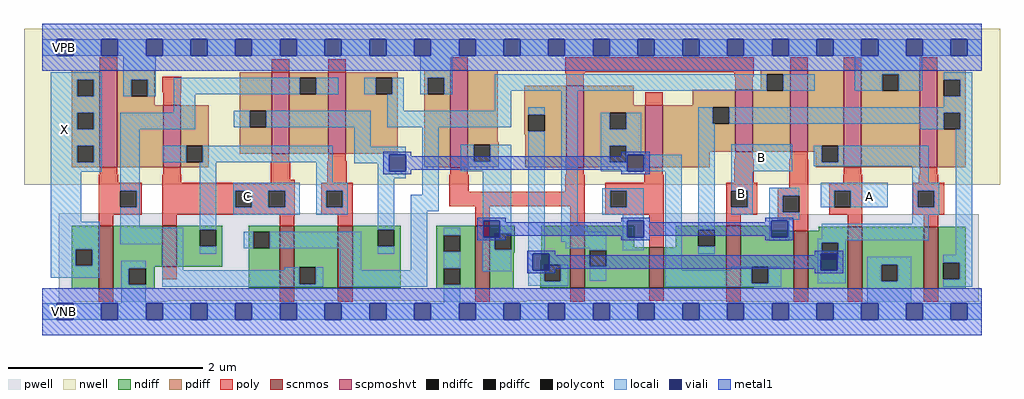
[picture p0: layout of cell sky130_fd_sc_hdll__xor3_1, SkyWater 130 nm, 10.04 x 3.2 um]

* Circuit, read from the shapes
.subckt sky130_fd_sc_hdll__xor3_1 A B C VGND VNB VPB VPWR X
XM1 VGND n1 X VNB sky130_fd_pr__nfet_01v8 w=0.65 l=0.15
XM2 n2 C VGND VNB sky130_fd_pr__nfet_01v8 w=0.42 l=0.15
XM3 n1 C n3 VNB sky130_fd_pr__nfet_01v8 w=0.64 l=0.15
XM4 n4 n2 n1 VNB sky130_fd_pr__nfet_01v8 w=0.64 l=0.15
XM5 n5 B VGND VNB sky130_fd_pr__nfet_01v8 w=0.65 l=0.15
XM6 n3 B n6 VNB sky130_fd_pr__nfet_01v8 w=0.64 l=0.15
XM7 n7 n5 n3 VNB sky130_fd_pr__nfet_01v8 w=0.42 l=0.15
XM8 n4 B n7 VNB sky130_fd_pr__nfet_01v8 w=0.64 l=0.15
XM9 n6 n5 n4 VNB sky130_fd_pr__nfet_01v8 w=0.6 l=0.15
XM10 VGND A n6 VNB sky130_fd_pr__nfet_01v8 w=0.64 l=0.15
XM11 n7 n6 VGND VNB sky130_fd_pr__nfet_01v8 w=0.64 l=0.15
XM12 VPWR n1 X VPB sky130_fd_pr__pfet_01v8_hvt w=1 l=0.18
XM13 n2 C VPWR VPB sky130_fd_pr__pfet_01v8_hvt w=0.64 l=0.18
XM14 n1 C n4 VPB sky130_fd_pr__pfet_01v8_hvt w=0.84 l=0.18
XM15 n3 n2 n1 VPB sky130_fd_pr__pfet_01v8_hvt w=0.84 l=0.18
XM16 n5 B VPWR VPB sky130_fd_pr__pfet_01v8_hvt w=1 l=0.18
XM17 n4 B n6 VPB sky130_fd_pr__pfet_01v8_hvt w=0.84 l=0.18
XM18 n7 n5 n4 VPB sky130_fd_pr__pfet_01v8_hvt w=0.64 l=0.18
XM19 n3 B n7 VPB sky130_fd_pr__pfet_01v8_hvt w=0.64 l=0.18
XM20 n6 n5 n3 VPB sky130_fd_pr__pfet_01v8_hvt w=0.84 l=0.18
XM21 VPWR A n6 VPB sky130_fd_pr__pfet_01v8_hvt w=1 l=0.18
XM22 n7 n6 VPWR VPB sky130_fd_pr__pfet_01v8_hvt w=1 l=0.18
.ends

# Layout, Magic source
magic
tech sky130A
magscale 1 2
<< nwell >>
rect -38 261 1970 582
<< pwell >>
rect 34 201 1523 203
rect 34 23 1926 201
rect 34 21 257 23
rect 784 21 996 23
rect 1438 21 1926 23
rect 34 17 63 21
rect 29 -17 63 17
<< scnmos >>
rect 116 47 146 177
rect 246 93 276 177
rect 488 49 518 177
rect 608 49 638 177
rect 890 47 920 177
rect 1086 49 1116 177
rect 1248 49 1278 133
rect 1407 49 1437 177
rect 1546 47 1576 167
rect 1657 47 1687 175
rect 1813 47 1843 175
<< scpmoshvt >>
rect 118 297 154 497
rect 248 297 284 425
rect 472 325 508 493
rect 588 325 624 493
rect 839 297 875 497
rect 1078 297 1114 465
rect 1240 297 1276 425
rect 1425 329 1461 457
rect 1538 329 1574 497
rect 1649 297 1685 497
rect 1805 297 1841 497
<< ndiff >>
rect 60 129 116 177
rect 60 95 68 129
rect 102 95 116 129
rect 60 47 116 95
rect 146 93 246 177
rect 276 169 370 177
rect 276 135 324 169
rect 358 135 370 169
rect 276 93 370 135
rect 424 165 488 177
rect 424 131 434 165
rect 468 131 488 165
rect 146 89 231 93
rect 146 55 178 89
rect 212 55 231 89
rect 146 47 231 55
rect 424 49 488 131
rect 518 91 608 177
rect 518 57 528 91
rect 562 57 608 91
rect 518 49 608 57
rect 638 169 737 177
rect 638 135 690 169
rect 724 135 737 169
rect 638 49 737 135
rect 810 157 890 177
rect 810 123 826 157
rect 860 123 890 157
rect 810 89 890 123
rect 810 55 826 89
rect 860 55 890 89
rect 810 47 890 55
rect 920 161 972 177
rect 920 127 930 161
rect 964 127 972 161
rect 920 121 972 127
rect 920 47 970 121
rect 1026 105 1086 177
rect 1024 97 1086 105
rect 1024 63 1032 97
rect 1066 63 1086 97
rect 1024 49 1086 63
rect 1116 133 1217 177
rect 1303 169 1407 177
rect 1303 135 1349 169
rect 1383 135 1407 169
rect 1303 133 1407 135
rect 1116 126 1248 133
rect 1116 92 1126 126
rect 1160 92 1248 126
rect 1116 49 1248 92
rect 1278 49 1407 133
rect 1437 167 1497 177
rect 1597 167 1657 175
rect 1437 93 1546 167
rect 1437 59 1459 93
rect 1493 59 1546 93
rect 1437 49 1546 59
rect 1464 47 1546 49
rect 1576 142 1657 167
rect 1576 108 1603 142
rect 1637 108 1657 142
rect 1576 47 1657 108
rect 1687 97 1813 175
rect 1687 63 1726 97
rect 1760 63 1813 97
rect 1687 47 1813 63
rect 1843 101 1900 175
rect 1843 67 1853 101
rect 1887 67 1900 101
rect 1843 47 1900 67
<< pdiff >>
rect 60 477 118 497
rect 60 443 72 477
rect 106 443 118 477
rect 60 409 118 443
rect 60 375 72 409
rect 106 375 118 409
rect 60 341 118 375
rect 60 307 72 341
rect 106 307 118 341
rect 60 297 118 307
rect 154 477 231 497
rect 154 443 183 477
rect 217 443 231 477
rect 154 425 231 443
rect 154 297 248 425
rect 284 341 342 425
rect 284 307 296 341
rect 330 307 342 341
rect 406 413 472 493
rect 406 379 426 413
rect 460 379 472 413
rect 406 325 472 379
rect 508 481 588 493
rect 508 447 529 481
rect 563 447 588 481
rect 508 325 588 447
rect 624 481 731 493
rect 624 447 686 481
rect 720 447 731 481
rect 624 325 731 447
rect 785 481 839 497
rect 785 447 793 481
rect 827 447 839 481
rect 284 297 342 307
rect 785 297 839 447
rect 875 349 937 497
rect 1478 489 1538 497
rect 991 405 1078 465
rect 991 371 999 405
rect 1033 371 1078 405
rect 991 365 1078 371
rect 875 343 939 349
rect 875 309 887 343
rect 921 309 939 343
rect 875 297 939 309
rect 993 297 1078 365
rect 1114 425 1216 465
rect 1478 457 1490 489
rect 1338 425 1425 457
rect 1114 409 1240 425
rect 1114 375 1167 409
rect 1201 375 1240 409
rect 1114 341 1240 375
rect 1114 307 1167 341
rect 1201 307 1240 341
rect 1114 297 1240 307
rect 1276 421 1425 425
rect 1276 387 1379 421
rect 1413 387 1425 421
rect 1276 329 1425 387
rect 1461 455 1490 457
rect 1524 455 1538 489
rect 1461 329 1538 455
rect 1574 341 1649 497
rect 1574 329 1603 341
rect 1276 297 1373 329
rect 1591 307 1603 329
rect 1637 307 1649 341
rect 1591 297 1649 307
rect 1685 489 1805 497
rect 1685 455 1728 489
rect 1762 455 1805 489
rect 1685 297 1805 455
rect 1841 477 1900 497
rect 1841 443 1854 477
rect 1888 443 1900 477
rect 1841 409 1900 443
rect 1841 375 1854 409
rect 1888 375 1900 409
rect 1841 297 1900 375
<< ndiffc >>
rect 68 95 102 129
rect 324 135 358 169
rect 434 131 468 165
rect 178 55 212 89
rect 528 57 562 91
rect 690 135 724 169
rect 826 123 860 157
rect 826 55 860 89
rect 930 127 964 161
rect 1032 63 1066 97
rect 1349 135 1383 169
rect 1126 92 1160 126
rect 1459 59 1493 93
rect 1603 108 1637 142
rect 1726 63 1760 97
rect 1853 67 1887 101
<< pdiffc >>
rect 72 443 106 477
rect 72 375 106 409
rect 72 307 106 341
rect 183 443 217 477
rect 296 307 330 341
rect 426 379 460 413
rect 529 447 563 481
rect 686 447 720 481
rect 793 447 827 481
rect 999 371 1033 405
rect 887 309 921 343
rect 1167 375 1201 409
rect 1167 307 1201 341
rect 1379 387 1413 421
rect 1490 455 1524 489
rect 1603 307 1637 341
rect 1728 455 1762 489
rect 1854 443 1888 477
rect 1854 375 1888 409
<< poly >>
rect 118 497 154 523
rect 472 493 508 519
rect 588 493 624 519
rect 839 497 875 523
rect 246 451 286 483
rect 248 425 284 451
rect 472 310 508 325
rect 588 310 624 325
rect 118 282 154 297
rect 248 282 284 297
rect 116 265 156 282
rect 246 265 286 282
rect 470 271 510 310
rect 470 265 519 271
rect 586 265 626 310
rect 1076 493 1463 523
rect 1538 497 1574 523
rect 1649 497 1685 523
rect 1805 497 1841 523
rect 1076 491 1116 493
rect 1078 465 1114 491
rect 1423 483 1463 493
rect 1425 457 1461 483
rect 1240 425 1276 451
rect 1425 314 1461 329
rect 1538 314 1574 329
rect 839 282 875 297
rect 1078 282 1114 297
rect 1240 282 1276 297
rect 116 249 204 265
rect 116 215 160 249
rect 194 215 204 249
rect 116 199 204 215
rect 246 249 519 265
rect 246 215 397 249
rect 431 215 465 249
rect 499 215 519 249
rect 246 199 519 215
rect 574 249 638 265
rect 574 215 584 249
rect 618 215 638 249
rect 837 247 877 282
rect 1076 247 1116 282
rect 1238 265 1278 282
rect 1423 265 1463 314
rect 837 217 1116 247
rect 574 199 638 215
rect 116 177 146 199
rect 246 177 276 199
rect 488 197 519 199
rect 488 177 518 197
rect 608 177 638 199
rect 890 177 920 217
rect 1086 177 1116 217
rect 1158 249 1278 265
rect 1158 215 1168 249
rect 1202 215 1278 249
rect 1158 199 1278 215
rect 246 67 276 93
rect 116 21 146 47
rect 488 21 518 49
rect 608 21 638 49
rect 1248 133 1278 199
rect 1407 249 1471 265
rect 1536 255 1576 314
rect 1649 282 1685 297
rect 1805 282 1841 297
rect 1647 265 1687 282
rect 1803 265 1843 282
rect 1407 215 1417 249
rect 1451 215 1471 249
rect 1407 199 1471 215
rect 1513 239 1576 255
rect 1513 205 1523 239
rect 1557 205 1576 239
rect 1407 177 1437 199
rect 1513 189 1576 205
rect 1619 249 1687 265
rect 1619 215 1629 249
rect 1663 215 1687 249
rect 1619 199 1687 215
rect 1791 249 1855 265
rect 1791 215 1801 249
rect 1835 215 1855 249
rect 1791 199 1855 215
rect 1546 167 1576 189
rect 1657 175 1687 199
rect 1813 175 1843 199
rect 890 21 920 47
rect 1086 21 1116 49
rect 1248 23 1278 49
rect 1407 21 1437 49
rect 1546 21 1576 47
rect 1657 21 1687 47
rect 1813 21 1843 47
<< polycont >>
rect 160 215 194 249
rect 397 215 431 249
rect 465 215 499 249
rect 584 215 618 249
rect 1168 215 1202 249
rect 1417 215 1451 249
rect 1523 205 1557 239
rect 1629 215 1663 249
rect 1801 215 1835 249
<< locali >>
rect 0 527 29 561
rect 63 527 121 561
rect 155 527 213 561
rect 247 527 305 561
rect 339 527 397 561
rect 431 527 489 561
rect 523 527 581 561
rect 615 527 673 561
rect 707 527 765 561
rect 799 527 857 561
rect 891 527 949 561
rect 983 527 1041 561
rect 1075 527 1133 561
rect 1167 527 1225 561
rect 1259 527 1317 561
rect 1351 527 1409 561
rect 1443 527 1501 561
rect 1535 527 1593 561
rect 1627 527 1685 561
rect 1719 527 1777 561
rect 1811 527 1869 561
rect 1903 527 1932 561
rect 17 477 122 493
rect 17 443 72 477
rect 106 443 122 477
rect 166 477 233 527
rect 777 481 843 527
rect 1671 489 1810 527
rect 166 443 183 477
rect 217 443 233 477
rect 270 447 529 481
rect 563 447 609 481
rect 662 447 686 481
rect 720 447 743 481
rect 777 447 793 481
rect 827 447 843 481
rect 930 455 1490 489
rect 1524 455 1589 489
rect 1671 455 1728 489
rect 1762 455 1810 489
rect 1854 477 1913 493
rect 17 409 122 443
rect 270 409 314 447
rect 709 413 743 447
rect 930 413 964 455
rect 17 375 72 409
rect 106 375 122 409
rect 17 341 122 375
rect 17 307 72 341
rect 106 307 122 341
rect 17 288 122 307
rect 160 375 314 409
rect 394 379 426 413
rect 460 379 675 413
rect 709 379 964 413
rect 999 405 1033 421
rect 17 185 80 288
rect 160 249 200 375
rect 247 307 296 341
rect 330 307 597 341
rect 194 215 200 249
rect 17 129 118 185
rect 160 173 200 215
rect 160 139 290 173
rect 17 95 68 129
rect 102 95 118 129
rect 17 70 118 95
rect 162 89 212 105
rect 162 55 178 89
rect 162 17 212 55
rect 246 85 290 139
rect 324 169 358 307
rect 563 265 597 307
rect 641 339 675 379
rect 641 323 747 339
rect 641 305 713 323
rect 690 289 713 305
rect 690 275 747 289
rect 392 249 529 265
rect 392 215 397 249
rect 431 215 465 249
rect 499 215 529 249
rect 392 199 529 215
rect 563 249 628 265
rect 563 215 584 249
rect 618 215 628 249
rect 563 199 628 215
rect 690 169 724 275
rect 781 241 815 379
rect 861 309 887 343
rect 921 309 964 343
rect 861 289 964 309
rect 324 119 358 135
rect 414 131 434 165
rect 468 131 656 165
rect 498 85 528 91
rect 246 57 528 85
rect 562 57 578 91
rect 246 51 578 57
rect 612 85 656 131
rect 690 119 724 135
rect 758 207 815 241
rect 758 85 792 207
rect 906 187 964 289
rect 612 51 792 85
rect 826 157 860 173
rect 826 89 860 123
rect 906 153 907 187
rect 941 161 964 187
rect 906 127 930 153
rect 906 83 964 127
rect 999 119 1033 371
rect 1067 178 1101 455
rect 1888 443 1913 477
rect 1854 421 1913 443
rect 1149 375 1167 409
rect 1201 375 1232 409
rect 1149 341 1232 375
rect 1149 307 1167 341
rect 1201 323 1232 341
rect 1349 387 1379 421
rect 1413 409 1913 421
rect 1413 387 1854 409
rect 1201 307 1203 323
rect 1149 289 1203 307
rect 1237 289 1315 323
rect 1152 249 1237 254
rect 1152 215 1168 249
rect 1202 215 1237 249
rect 1152 199 1237 215
rect 1194 187 1237 199
rect 1067 165 1121 178
rect 1067 144 1160 165
rect 1077 131 1160 144
rect 1126 126 1160 131
rect 1194 153 1203 187
rect 1194 126 1237 153
rect 999 85 1009 119
rect 826 17 860 55
rect 999 63 1032 85
rect 1066 63 1082 97
rect 1126 64 1160 92
rect 1281 85 1315 289
rect 1349 169 1383 387
rect 1806 375 1854 387
rect 1888 375 1913 409
rect 1417 289 1543 345
rect 1587 307 1603 341
rect 1637 307 1823 341
rect 1587 299 1823 307
rect 1417 249 1461 289
rect 1789 265 1823 299
rect 1451 215 1461 249
rect 1417 199 1461 215
rect 1495 239 1557 255
rect 1495 205 1523 239
rect 1601 249 1739 265
rect 1601 215 1629 249
rect 1663 215 1739 249
rect 1789 249 1845 265
rect 1789 215 1801 249
rect 1835 215 1845 249
rect 1495 189 1557 205
rect 1789 199 1845 215
rect 1495 187 1536 189
rect 1495 153 1499 187
rect 1533 153 1536 187
rect 1789 181 1823 199
rect 1495 146 1536 153
rect 1603 150 1823 181
rect 1595 147 1823 150
rect 1349 119 1383 135
rect 1595 142 1653 147
rect 1595 119 1603 142
rect 1417 85 1459 93
rect 999 53 1082 63
rect 1281 59 1459 85
rect 1493 59 1520 93
rect 1595 85 1601 119
rect 1637 108 1653 142
rect 1879 117 1913 375
rect 1635 85 1653 108
rect 1595 59 1653 85
rect 1697 97 1787 113
rect 1697 63 1726 97
rect 1760 63 1787 97
rect 1281 51 1520 59
rect 1697 17 1787 63
rect 1853 101 1913 117
rect 1887 67 1913 101
rect 1853 51 1913 67
rect 0 -17 29 17
rect 63 -17 121 17
rect 155 -17 213 17
rect 247 -17 305 17
rect 339 -17 397 17
rect 431 -17 489 17
rect 523 -17 581 17
rect 615 -17 673 17
rect 707 -17 765 17
rect 799 -17 857 17
rect 891 -17 949 17
rect 983 -17 1041 17
rect 1075 -17 1133 17
rect 1167 -17 1225 17
rect 1259 -17 1317 17
rect 1351 -17 1409 17
rect 1443 -17 1501 17
rect 1535 -17 1593 17
rect 1627 -17 1685 17
rect 1719 -17 1777 17
rect 1811 -17 1869 17
rect 1903 -17 1932 17
<< viali >>
rect 29 527 63 561
rect 121 527 155 561
rect 213 527 247 561
rect 305 527 339 561
rect 397 527 431 561
rect 489 527 523 561
rect 581 527 615 561
rect 673 527 707 561
rect 765 527 799 561
rect 857 527 891 561
rect 949 527 983 561
rect 1041 527 1075 561
rect 1133 527 1167 561
rect 1225 527 1259 561
rect 1317 527 1351 561
rect 1409 527 1443 561
rect 1501 527 1535 561
rect 1593 527 1627 561
rect 1685 527 1719 561
rect 1777 527 1811 561
rect 1869 527 1903 561
rect 713 289 747 323
rect 907 161 941 187
rect 907 153 930 161
rect 930 153 941 161
rect 1203 289 1237 323
rect 1203 153 1237 187
rect 1009 97 1043 119
rect 1009 85 1032 97
rect 1032 85 1043 97
rect 1499 153 1533 187
rect 1601 108 1603 119
rect 1603 108 1635 119
rect 1601 85 1635 108
rect 29 -17 63 17
rect 121 -17 155 17
rect 213 -17 247 17
rect 305 -17 339 17
rect 397 -17 431 17
rect 489 -17 523 17
rect 581 -17 615 17
rect 673 -17 707 17
rect 765 -17 799 17
rect 857 -17 891 17
rect 949 -17 983 17
rect 1041 -17 1075 17
rect 1133 -17 1167 17
rect 1225 -17 1259 17
rect 1317 -17 1351 17
rect 1409 -17 1443 17
rect 1501 -17 1535 17
rect 1593 -17 1627 17
rect 1685 -17 1719 17
rect 1777 -17 1811 17
rect 1869 -17 1903 17
<< metal1 >>
rect 0 561 1932 592
rect 0 527 29 561
rect 63 527 121 561
rect 155 527 213 561
rect 247 527 305 561
rect 339 527 397 561
rect 431 527 489 561
rect 523 527 581 561
rect 615 527 673 561
rect 707 527 765 561
rect 799 527 857 561
rect 891 527 949 561
rect 983 527 1041 561
rect 1075 527 1133 561
rect 1167 527 1225 561
rect 1259 527 1317 561
rect 1351 527 1409 561
rect 1443 527 1501 561
rect 1535 527 1593 561
rect 1627 527 1685 561
rect 1719 527 1777 561
rect 1811 527 1869 561
rect 1903 527 1932 561
rect 0 496 1932 527
rect 701 323 759 329
rect 701 289 713 323
rect 747 320 759 323
rect 1191 323 1249 329
rect 1191 320 1203 323
rect 747 292 1203 320
rect 747 289 759 292
rect 701 283 759 289
rect 1191 289 1203 292
rect 1237 289 1249 323
rect 1191 283 1249 289
rect 895 187 953 193
rect 895 153 907 187
rect 941 184 953 187
rect 1191 187 1249 193
rect 1191 184 1203 187
rect 941 156 1203 184
rect 941 153 953 156
rect 895 147 953 153
rect 1191 153 1203 156
rect 1237 184 1249 187
rect 1487 187 1545 193
rect 1487 184 1499 187
rect 1237 156 1499 184
rect 1237 153 1249 156
rect 1191 147 1249 153
rect 1487 153 1499 156
rect 1533 153 1545 187
rect 1487 147 1545 153
rect 997 119 1055 125
rect 997 85 1009 119
rect 1043 116 1055 119
rect 1589 119 1647 125
rect 1589 116 1601 119
rect 1043 88 1601 116
rect 1043 85 1055 88
rect 997 79 1055 85
rect 1589 85 1601 88
rect 1635 85 1647 119
rect 1589 79 1647 85
rect 0 17 1932 48
rect 0 -17 29 17
rect 63 -17 121 17
rect 155 -17 213 17
rect 247 -17 305 17
rect 339 -17 397 17
rect 431 -17 489 17
rect 523 -17 581 17
rect 615 -17 673 17
rect 707 -17 765 17
rect 799 -17 857 17
rect 891 -17 949 17
rect 983 -17 1041 17
rect 1075 -17 1133 17
rect 1167 -17 1225 17
rect 1259 -17 1317 17
rect 1351 -17 1409 17
rect 1443 -17 1501 17
rect 1535 -17 1593 17
rect 1627 -17 1685 17
rect 1719 -17 1777 17
rect 1811 -17 1869 17
rect 1903 -17 1932 17
rect 0 -48 1932 -17
<< labels >>
flabel locali s 29 357 63 391 0 FreeSans 340 0 0 0 X
port 8 nsew signal output
flabel locali s 404 221 438 255 0 FreeSans 340 0 0 0 C
port 3 nsew signal input
flabel locali s 1417 289 1543 345 0 FreeSans 340 0 0 0 B
port 2 nsew signal input
flabel locali s 1685 221 1719 255 0 FreeSans 340 0 0 0 A
port 1 nsew signal input
flabel pwell s 29 -17 63 17 0 FreeSans 200 0 0 0 VNB
port 5 nsew ground bidirectional
flabel nwell s 29 527 63 561 0 FreeSans 200 0 0 0 VPB
port 6 nsew power bidirectional
flabel metal1 s 29 -17 63 17 0 FreeSans 200 0 0 0 VGND
port 4 nsew ground bidirectional
flabel metal1 s 29 527 63 561 0 FreeSans 200 0 0 0 VPWR
port 7 nsew power bidirectional
rlabel comment s 0 0 0 0 4 xor3_1
rlabel locali s 1417 199 1461 289 1 B
port 2 nsew signal input
<< properties >>
string LEFsite unithd
string LEFclass CORE
string FIXED_BBOX 0 0 1932 544
string GDS_FILE $PDKPATH/libs.ref/sky130_fd_sc_hdll/gds/sky130_fd_sc_hdll.gds
string LEFsymmetry X Y R90
string GDS_END 2972232
string GDS_START 2959748
string LEFproperties maskLayoutSubType "abstract" prCellType "standard" originalViewName "layout"
<< end >>
